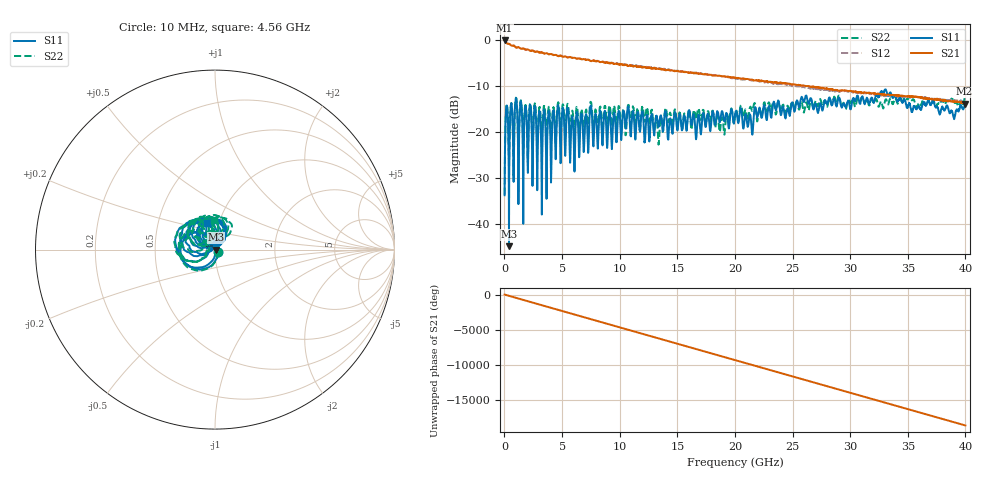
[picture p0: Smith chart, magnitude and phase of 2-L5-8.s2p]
! 2/21/2025 7:10:53 AM
! Z:\OQC\AD5\613\LOT-141-0825\SINGLE\2-L5-8.S2P
! CHANNEL.1
! TR.MEASUREMENT
! CORRECTED.DATA
! RF.CORRECTION: FULL.FOUR.PORT.CAL.PORT.1.2.3.4
! AVERAGING.OFF
! IF.BANDWIDTH: 1KHZ
! SWEEPTYPE:  FREQ.SWEEP(Linear)
! Reference Plane Port Info
! PORT:  PORT1  PORT2
! DISTANCE:  0  m  0  m
! TIME:  0  s  0  s
! PHASE.OFFSET:  0 °  0 °
! LOSS:  0  dB  0  dB
! REF.LOSS:  0  dB  0  dB
! REF.FREQ:  0  Hz  0  Hz
! Power Info
! POWER:  -10  dBm  -10  dBm
! EFF.POWER:  -10  dBm  -10  dBm
! SOURCE.ATTEN:  0  dB  0  dB
! TEST.ATTEN:  0  dB  0  dB
# GHZ S RI R 50.0
! FREQ.GHZ  S11RE  S11IM  S21RE  S21IM  S12RE  S12IM  S22RE  S22IM
!; PortSelection: Port_12
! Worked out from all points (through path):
!   4000 points, 10 MHz to 40 GHz, reference 50 ohm
!   highest |S21| = -0.15 dB at 10 MHz (marker M1); lowest = -13.9 dB at 39.93 GHz (marker M2)
!   group delay of S21, straight-line fit = 1.29 ns
!   lowest |S11| = -44.9 dB at 390 MHz (marker M3), VSWR 1.01, Z = 50.6 + j0.0395 ohm
!   |S11| at or under -10 dB: start of sweep to end of sweep
!   |S22| runs from -33.7 to -12.1 dB; largest |S21 - S12| = 0.019
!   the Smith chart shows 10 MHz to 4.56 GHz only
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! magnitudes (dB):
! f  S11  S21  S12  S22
! 10 MHz  -33.8  -0.2  -0.2  -33.7
! 160 MHz  -14.7  -0.7  -0.7  -14.5
! 390 MHz  -44.9  -0.9  -0.9  -27.0
! 1 GHz  -12.9  -1.7  -1.7  -12.7
! 3.05 GHz  -15.6  -2.8  -2.8  -14.7
! 4.64 GHz  -14.4  -3.6  -3.5  -13.7
! 5.89 GHz  -16.7  -4.0  -3.9  -15.5
! 6.68 GHz  -16.1  -4.3  -4.2  -15.1
! 10.65 GHz  -15.6  -5.6  -5.5  -15.7
! 12.12 GHz  -20.6  -6.0  -5.9  -17.0
! 13.34 GHz  -18.5  -6.3  -6.3  -21.8
! 14.07 GHz  -17.1  -6.6  -6.6  -15.7
! 18.92 GHz  -15.7  -7.9  -8.0  -17.2
! 20.01 GHz  -16.3  -8.3  -8.4  -16.4
! 21.4 GHz  -17.7  -8.7  -8.8  -14.8
! 23.56 GHz  -15.3  -9.3  -9.4  -16.1
! 24.52 GHz  -15.2  -9.5  -9.8  -14.6
! 26.67 GHz  -13.5  -10.2  -10.6  -13.5
! 33.34 GHz  -12.0  -11.9  -12.1  -13.8
! 35.42 GHz  -15.2  -12.4  -12.3  -13.1
! 39.93 GHz  -14.3  -13.9  -13.5  -12.8
! 40 GHz  -13.9  -13.9  -13.6  -12.1
